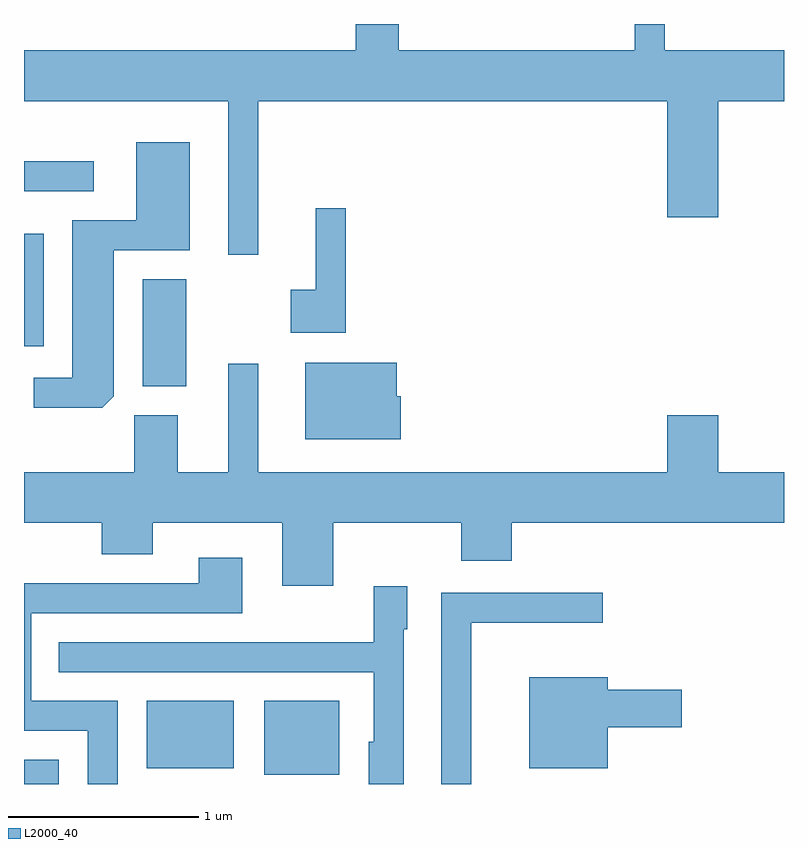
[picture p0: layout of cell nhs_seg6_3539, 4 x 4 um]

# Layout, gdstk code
import gdstk
lib = gdstk.Library(unit=1e-6, precision=1e-09)
def R(c, l, rs):  # rectangles x0, y0, x1, y1
    for r in rs: c.add(gdstk.rectangle(r[:2], r[2:], *l))
def P(c, l, *ps):  # polygons
    for p in ps: c.add(gdstk.Polygon(p, *l))
L2000_40 = (2000, 40)

nhs_seg6_3539 = lib.new_cell('nhs_seg6_3539')
R(nhs_seg6_3539, L2000_40, [(291.611,1604.162,291.794,1604.289), (292.876,1604.211,293.269,1604.599), (292.256,1604.246,292.714,1604.599), (292.236,1606.256,292.464,1606.819), (291.611,1606.466,291.714,1607.059), (291.611,1607.281,291.978,1607.439)])
P(nhs_seg6_3539, L2000_40, [(292.844,1607.756),(294.996,1607.756),(294.996,1607.146),(295.264,1607.146),(295.264,1607.756),(295.611,1607.756),(295.611,1608.024),(294.984,1608.024),(294.984,1608.162),(294.826,1608.162),(294.826,1608.024),(293.584,1608.024),(293.584,1608.162),(293.356,1608.162),(293.356,1608.024),(291.611,1608.024),(291.611,1607.756),(292.686,1607.756),(292.686,1606.948),(292.844,1606.948)],
  [(292.084,1606.202),(292.084,1606.971),(292.484,1606.971),(292.484,1607.539),(292.201,1607.539),(292.201,1607.129),(291.866,1607.129),(291.866,1606.299),(291.663,1606.299),(291.663,1606.141),(292.024,1606.141)],
  [(293.304,1607.193),(293.146,1607.193),(293.146,1606.764),(293.016,1606.764),(293.016,1606.536),(293.304,1606.536)],
  [(293.594,1606.204),(293.574,1606.204),(293.574,1606.379),(293.091,1606.379),(293.091,1605.976),(293.594,1605.976)],
  [(293.239,1605.536),(293.911,1605.536),(293.911,1605.336),(294.179,1605.336),(294.179,1605.536),(295.611,1605.536),(295.611,1605.804),(295.264,1605.804),(295.264,1606.104),(294.996,1606.104),(294.996,1605.804),(292.844,1605.804),(292.844,1606.373),(292.686,1606.373),(292.686,1605.804),(292.419,1605.804),(292.419,1606.104),(292.191,1606.104),(292.191,1605.804),(291.611,1605.804),(291.611,1605.536),(292.021,1605.536),(292.021,1605.371),(292.289,1605.371),(292.289,1605.536),(292.971,1605.536),(292.971,1605.206),(293.239,1605.206)],
  [(292.104,1604.599),(291.649,1604.599),(291.649,1605.061),(292.759,1605.061),(292.759,1605.354),(292.531,1605.354),(292.531,1605.219),(291.611,1605.219),(291.611,1604.441),(291.946,1604.441),(291.946,1604.162),(292.104,1604.162)],
  [(293.609,1604.976),(293.629,1604.976),(293.629,1605.204),(293.451,1605.204),(293.451,1604.909),(291.793,1604.909),(291.793,1604.751),(293.451,1604.751),(293.451,1604.384),(293.426,1604.384),(293.426,1604.162),(293.609,1604.162)],
  [(293.964,1605.011),(294.658,1605.011),(294.658,1605.169),(293.806,1605.169),(293.806,1604.162),(293.964,1604.162)],
  [(294.684,1604.461),(295.074,1604.461),(295.074,1604.659),(294.684,1604.659),(294.684,1604.724),(294.271,1604.724),(294.271,1604.246),(294.684,1604.246)])

lib.write_gds('nhs_seg6_3539.gds')
